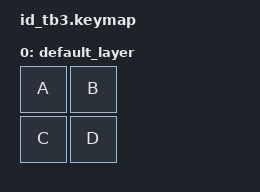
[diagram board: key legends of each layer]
// This file was generated from a template. Edit it to match your keyboard.
// See https://zmk.dev/docs/development/hardware-integration/new-shield for more instructions.

#include <behaviors.dtsi>
#include <id_tb3-layouts.dtsi>


/* Layers */

#define DEFAULT 0



 / {
    // Define a default keymap here.
    // See https://zmk.dev/docs/development/hardware-integration/new-shield#default-keymap.
    keymap {
        compatible = "zmk,keymap";

        default_layer {
            bindings = <
                &kp A &kp B
                &kp C &kp D
            >;
        };
    };
};
